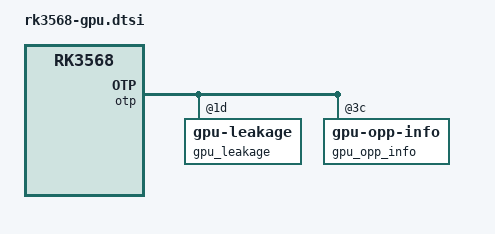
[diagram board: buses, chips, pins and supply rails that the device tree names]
/*
 * Copyright (c) 2021 Rockchip Electronics Co., Ltd.
 * Copyright (c) 2025 jjm2473 <jjm2473@gmail.com>
 */

&otp {
	gpu_leakage: gpu-leakage@1d {
		reg = <0x1d 0x1>;
	};
	gpu_opp_info: gpu-opp-info@3c {
		reg = <0x3c 0x6>;
	};
};

/ {
	
	gpu_opp_table: opp-table-1 {
		compatible = "operating-points-v2";

		mbist-vmin = <825000 900000 950000>;
		nvmem-cells = <&gpu_leakage>, <&core_pvtm>, <&mbist_vmin>, <&gpu_opp_info>,
			      <&specification_serial_number>, <&remark_spec_serial_number>;
		nvmem-cell-names = "leakage", "pvtm", "mbist-vmin", "opp-info",
				   "specification_serial_number", "remark_spec_serial_number";
		rockchip,supported-hw;
		rockchip,max-volt = <1000000>;
		rockchip,temp-hysteresis = <5000>;
		rockchip,low-temp = <0>;
		rockchip,low-temp-adjust-volt = <
			/* MHz    MHz    uV */
			   0      800    50000
		>;
		rockchip,pvtm-voltage-sel = <
			0        84000   0
			84001    87000   1
			87001    91000   2
			91001    100000  3
		>;
		rockchip,pvtm-ch = <0 5>;

		/* RK3568 && RK3568M gpu OPPs */
		opp-200000000 {
			opp-supported-hw = <0xfb 0xffff>;
			opp-hz = /bits/ 64 <200000000>;
			opp-microvolt = <850000 850000 1000000>;
		};

		opp-300000000 {
			opp-supported-hw = <0xfb 0xffff>;
			opp-hz = /bits/ 64 <300000000>;
			opp-microvolt = <850000 850000 1000000>;
		};

		opp-400000000 {
			opp-supported-hw = <0xfb 0xffff>;
			opp-hz = /bits/ 64 <400000000>;
			opp-microvolt = <850000 850000 1000000>;
		};

		opp-600000000 {
			opp-supported-hw = <0xfb 0xffff>;
			opp-hz = /bits/ 64 <600000000>;
			opp-microvolt = <900000 900000 1000000>;
			opp-microvolt-L0 = <900000 900000 1000000>;
			opp-microvolt-L1 = <875000 875000 1000000>;
			opp-microvolt-L2 = <850000 850000 1000000>;
			opp-microvolt-L3 = <850000 850000 1000000>;
		};

		opp-700000000 {
			opp-supported-hw = <0xfb 0xffff>;
			opp-hz = /bits/ 64 <700000000>;
			opp-microvolt = <950000 950000 1000000>;
			opp-microvolt-L0 = <950000 950000 1000000>;
			opp-microvolt-L1 = <925000 925000 1000000>;
			opp-microvolt-L2 = <900000 900000 1000000>;
			opp-microvolt-L3 = <875000 875000 1000000>;
		};

		opp-800000000 {
			opp-supported-hw = <0xf9 0xffff>;
			opp-hz = /bits/ 64 <800000000>;
			opp-microvolt = <1000000 1000000 1000000>;
			opp-microvolt-L0 = <1000000 1000000 1000000>;
			opp-microvolt-L1 = <975000 975000 1000000>;
			opp-microvolt-L2 = <950000 950000 1000000>;
			opp-microvolt-L3 = <925000 925000 1000000>;
		};
	};

	gpu: gpu@fde60000 {
		compatible = "arm,mali-bifrost";
		reg = <0x0 0xfde60000 0x0 0x4000>;

		interrupts = <GIC_SPI 39 IRQ_TYPE_LEVEL_HIGH>,
			     <GIC_SPI 41 IRQ_TYPE_LEVEL_HIGH>,
			     <GIC_SPI 40 IRQ_TYPE_LEVEL_HIGH>;
		interrupt-names = "gpu", "mmu", "job";

		upthreshold = <40>;
		downdifferential = <10>;

		clocks = <&scmi_clk 1>, <&cru CLK_GPU>;
		clock-names = "gpu", "bus";
		power-domains = <&power RK3568_PD_GPU>;
		#cooling-cells = <2>;
		operating-points-v2 = <&gpu_opp_table>;

		status = "disabled";
		gpu_power_model: power-model {
			compatible = "simple-power-model";
			leakage-range= <5 15>;
			ls = <(-24002) 22823 0>;
			static-coefficient = <100000>;
			dynamic-coefficient = <953>;
			ts = <(-108890) 63610 (-1355) 20>;
			thermal-zone = "gpu-thermal";
		};
	};

};
